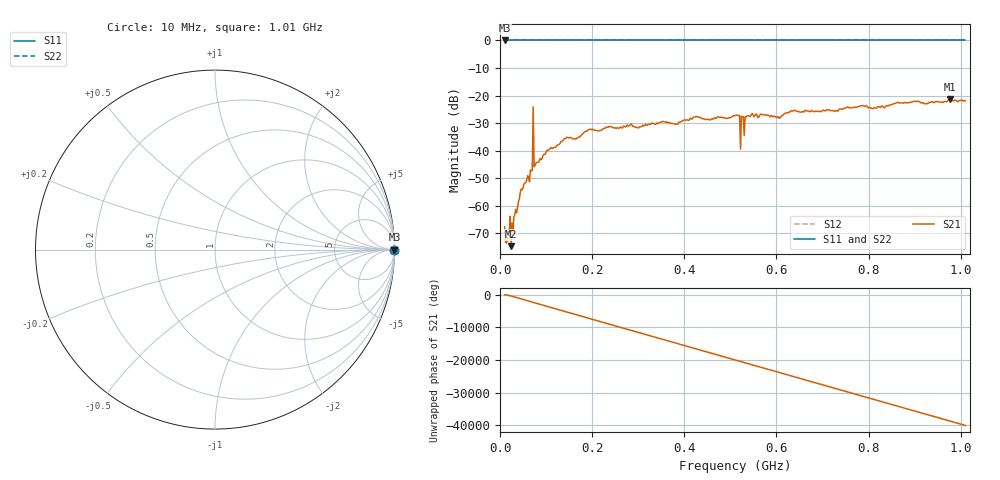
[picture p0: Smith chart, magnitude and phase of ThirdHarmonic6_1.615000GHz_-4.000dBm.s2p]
! 8/16/2025 7:16:30 PM
! C:\ANRITSUVNA\TEMP\TEMP.S2P
! CHANNEL.1
! TR.MEASUREMENT
! RAW.DATA
! RF.CORRECTION.OFF
! AVERAGING.OFF
! IF.BANDWIDTH: 5KHZ
! SWEEPTYPE:  FREQ.SWEEP(Linear)
! Reference Plane Port Info
! PORT:  PORT1  PORT2
! DISTANCE:  0  m  0  m
! TIME:  0  s  0  s
! PHASE.OFFSET:  0  deg.  0  deg.
! LOSS:  0  dB  0  dB
! REF.LOSS:  0  dB  0  dB
! REF.FREQ:  0  Hz  0  Hz
! Power Info
! POWER:  -20  dBm  -20  dBm
! EFF.POWER:  -20  dBm  -20  dBm
! SOURCE.ATTEN:  0  dB  0  dB
! TEST.ATTEN:  0  dB  0  dB
# GHZ S RI R 50.0
! FREQ.GHZ  S11RE  S11IM  S21RE  S21IM  S12RE  S12IM  S22RE  S22IM
!; PortSelection: Port_12
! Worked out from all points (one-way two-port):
!   501 points, 10 MHz to 1.01 GHz, reference 50 ohm
!   highest |S21| = -21.39 dB at 976 MHz (marker M1); lowest = -74.7 dB at 24 MHz (marker M2)
!   lowest |S11| = 0.0 dB at 10 MHz (marker M3)
!   |S11| at or under -10 dB: nowhere
!   |S22| runs from 0.0 to 0.0 dB; largest |S21 - S12| = 1.1
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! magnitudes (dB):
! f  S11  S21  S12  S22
! 10 MHz  0.0  -67.7  0.0  0.0
! 16 MHz  0.0  -72.6  0.0  0.0
! 24 MHz  0.0  -74.7  0.0  0.0
! 44 MHz  0.0  -55.1  0.0  0.0
! 66 MHz  0.0  -47.0  0.0  0.0
! 68 MHz  0.0  -47.4  0.0  0.0
! 76 MHz  0.0  -45.3  0.0  0.0
! 78 MHz  0.0  -44.5  0.0  0.0
! 142 MHz  0.0  -35.6  0.0  0.0
! 178 MHz  0.0  -34.2  0.0  0.0
! 344 MHz  0.0  -30.2  0.0  0.0
! 510 MHz  0.0  -27.3  0.0  0.0
! 516 MHz  0.0  -27.1  0.0  0.0
! 518 MHz  0.0  -27.4  0.0  0.0
! 526 MHz  0.0  -27.9  0.0  0.0
! 528 MHz  0.0  -27.7  0.0  0.0
! 544 MHz  0.0  -27.5  0.0  0.0
! 604 MHz  0.0  -27.6  0.0  0.0
! 678 MHz  0.0  -25.8  0.0  0.0
! 844 MHz  0.0  -23.6  0.0  0.0
! 976 MHz  0.0  -21.4  0.0  0.0
! 1.01 GHz  0.0  -21.9  0.0  0.0
